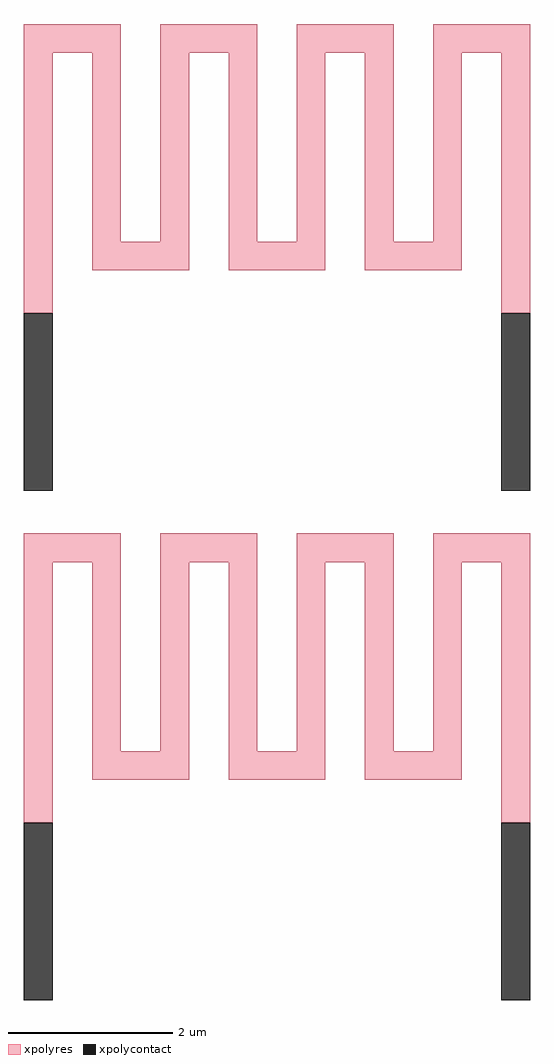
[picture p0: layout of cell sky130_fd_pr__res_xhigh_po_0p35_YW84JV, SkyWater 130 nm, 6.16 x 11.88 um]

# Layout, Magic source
magic
tech sky130A
<< xpolycontact >>
rect -308 26 -273 242
rect 273 26 308 242
rect -308 -594 -273 -378
rect 273 -594 308 -378
<< xpolyres >>
rect -308 559 -190 594
rect -308 242 -273 559
rect -225 329 -190 559
rect -142 559 -24 594
rect -142 329 -107 559
rect -225 294 -107 329
rect -59 329 -24 559
rect 24 559 142 594
rect 24 329 59 559
rect -59 294 59 329
rect 107 329 142 559
rect 190 559 308 594
rect 190 329 225 559
rect 107 294 225 329
rect 273 242 308 559
rect -308 -61 -190 -26
rect -308 -378 -273 -61
rect -225 -291 -190 -61
rect -142 -61 -24 -26
rect -142 -291 -107 -61
rect -225 -326 -107 -291
rect -59 -291 -24 -61
rect 24 -61 142 -26
rect 24 -291 59 -61
rect -59 -326 59 -291
rect 107 -291 142 -61
rect 190 -61 308 -26
rect 190 -291 225 -61
rect 107 -326 225 -291
rect 273 -378 308 -61
<< properties >>
string gencell sky130_fd_pr__res_xhigh_po_0p35
string library sky130
string parameters w 0.35 l 3 m 2 nx 8 wmin 0.350 lmin 0.50 rho 2000 val 152.218k dummy 0 dw 0.0 term 188.2 sterm 0.0 caplen 0 wmax 0.350 guard 0 glc 0 grc 0 gtc 0 gbc 0 compatible {sky130_fd_pr__res_xhigh_po_0p35  sky130_fd_pr__res_xhigh_po_0p69 sky130_fd_pr__res_xhigh_po_1p41  sky130_fd_pr__res_xhigh_po_2p85 sky130_fd_pr__res_xhigh_po_5p73} snake 1 full_metal 0 n_guard 0 hv_guard 0 vias 1 viagb 0 viagt 0 viagl 0 viagr 0
<< end >>
